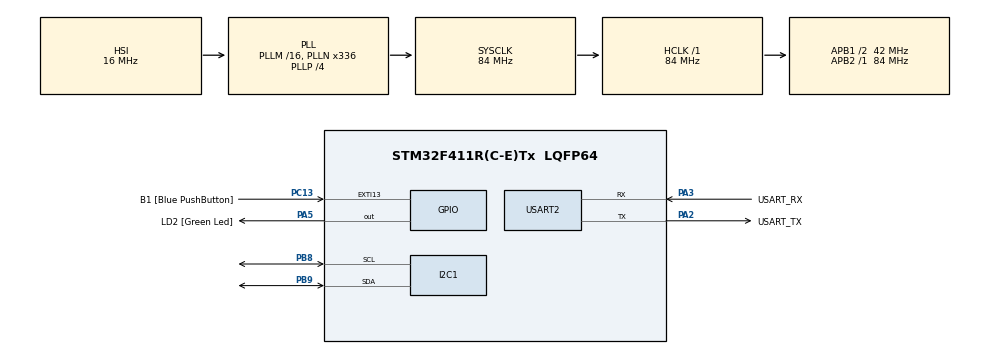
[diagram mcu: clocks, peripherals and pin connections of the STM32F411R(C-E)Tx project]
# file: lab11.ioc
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Mcu.Family=STM32F4
PC15-OSC32_OUT.Mode=LSE-External-Oscillator
RCC.CortexFreq_Value=84000000
NVIC.I2C1_EV_IRQn=true\:0\:0\:false\:false\:true\:true\:true
PC13-ANTI_TAMP.GPIO_Label=B1 [Blue PushButton]
PA14.GPIO_Label=TCK
PH1\ -\ OSC_OUT.Mode=HSE-External-Clock-Source
RCC.APB1CLKDivider=RCC_HCLK_DIV2
PC14-OSC32_IN.Signal=RCC_OSC32_IN
RCC.SYSCLKSource=RCC_SYSCLKSOURCE_PLLCLK
ProjectManager.StackSize=0x400
PA13.Signal=SYS_JTMS-SWDIO
PA3.Mode=Asynchronous
PH0\ -\ OSC_IN.Mode=HSE-External-Clock-Source
PH0\ -\ OSC_IN.Signal=RCC_OSC_IN
ProjectManager.TargetToolchain=STM32CubeIDE
I2C1.I2C_Mode=I2C_Fast
RCC.HCLKFreq_Value=84000000
PB9.Mode=I2C
RCC.APB2TimFreq_Value=84000000
PC15-OSC32_OUT.Signal=RCC_OSC32_OUT
RCC.AHBFreq_Value=84000000
PA5.Signal=GPIO_Output
RCC.HSE_VALUE=8000000
PH1\ -\ OSC_OUT.Signal=RCC_OSC_OUT
board=NUCLEO-F411RE
PC13-ANTI_TAMP.Signal=GPXTI13
RCC.VCOOutputFreq_Value=336000000
RCC.APB2Freq_Value=84000000
PC14-OSC32_IN.Mode=LSE-External-Oscillator
PA14.Mode=Serial_Wire
PA13.Mode=Serial_Wire
NVIC.I2C1_ER_IRQn=true\:0\:0\:false\:false\:true\:true\:true
Mcu.Name=STM32F411R(C-E)Tx
PA2.Signal=USART2_TX
PA13.GPIO_Label=TMS
RCC.FLatency-AdvancedSettings=FLASH_LATENCY_2
RCC.48MHZClocksFreq_Value=84000000
PB3.Signal=SYS_JTDO-SWO
RCC.SYSCLKFreq_VALUE=84000000
Mcu.Package=LQFP64
PB9.Signal=I2C1_SDA
PA5.GPIO_Label=LD2 [Green Led]
USART2.VirtualMode=VM_ASYNC
PC13-ANTI_TAMP.GPIO_ModeDefaultEXTI=GPIO_MODE_IT_FALLING
PA2.GPIO_Label=USART_TX
PA14.Signal=SYS_JTCK-SWCLK
ProjectManager.HeapSize=0x200
RCC.HSI_VALUE=16000000
RCC.PLLP=RCC_PLLP_DIV4
NVIC.PriorityGroup=NVIC_PRIORITYGROUP_0
PB8.Mode=I2C
RCC.PLLN=336
RCC.APB1TimFreq_Value=84000000
PA2.Mode=Asynchronous
PB8.Signal=I2C1_SCL
RCC.APB1Freq_Value=42000000
PA3.GPIO_Label=USART_RX
PA3.Signal=USART2_RX
PB3.GPIO_Label=SWO

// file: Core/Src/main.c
/* USER CODE BEGIN Header */
/**
 ******************************************************************************
 * @file           : main.c
 * @brief          : Main program body
 ******************************************************************************
 * @attention
 *
 * <h2><center>&copy; Copyright (c) 2021 STMicroelectronics.
 * All rights reserved.</center></h2>
 *
 * This software component is licensed by ST under BSD 3-Clause license,
 * the "License"; You may not use this file except in compliance with the
 * License. You may obtain a copy of the License at:
 *                        opensource.org/licenses/BSD-3-Clause
 *
 ******************************************************************************
 */
/* USER CODE END Header */
#include "main.h"

/* USER CODE BEGIN PD */
#define EEPROM_ADDR 0b10100000
#define IOEXPD_ADDR 0b01000000
/* USER CODE END PD */

I2C_HandleTypeDef hi2c1;

UART_HandleTypeDef huart2;

/* USER CODE BEGIN PV */
uint8_t eepromExampleWriteFlag = 0;
uint8_t eepromExampleReadFlag = 0;
uint8_t IOExpdrExampleWriteFlag = 0;
uint8_t IOExpdrExampleReadFlag = 0;
uint8_t eepromDataReadBack[4];
uint8_t IOExpdrDataReadBack;
uint8_t IOExpdrDataWrite = 0b01010101;
uint8_t state[2] = {0,0};
uint8_t timestamp = 0;
uint8_t x=1;

/* USER CODE END PV */

void SystemClock_Config(void);
static void MX_GPIO_Init(void);
static void MX_USART2_UART_Init(void);
static void MX_I2C1_Init(void);
/* USER CODE BEGIN PFP */
void EEPROMWriteExample(uint8_t Wdata);
void EEPROMReadExample(uint8_t *Rdata, uint16_t len);

void IOExpenderInit();
void IOExpenderReadPinA(uint8_t *Rdata);
void IOExpenderWritePinB(uint8_t Wdata);

/* USER CODE END PFP */

int main(void)
{

  /* MCU Configuration--------------------------------------------------------*/

  /* Reset of all peripherals, Initializes the Flash interface and the Systick. */
  HAL_Init();

  /* Configure the system clock */
  SystemClock_Config();

  /* Initialize all configured peripherals */
  MX_GPIO_Init();
  MX_USART2_UART_Init();
  MX_I2C1_Init();
  /* USER CODE BEGIN 2 */
  HAL_Delay(100);
  IOExpenderInit();
  IOExpdrExampleWriteFlag = 1;
  eepromExampleReadFlag = 1;
	EEPROMReadExample(eepromDataReadBack, 1);
	HAL_Delay(100);
	IOExpenderWritePinB(eepromDataReadBack[0]);
  /* USER CODE END 2 */

  /* Infinite loop */
  /* USER CODE BEGIN WHILE */
	while (1) {
//		EEPROMWriteExample();
//		EEPROMReadExample(eepromDataReadBack, 4);
//
//		IOExpenderReadPinA(&IOExpdrDataReadBack);
//		IOExpenderWritePinB(IOExpdrDataWrite);
//
//

		IOExpdrExampleReadFlag = 1;

		if(HAL_GetTick() - timestamp >= 5){

		switch(x){
		case 1:
			IOExpenderReadPinA(&IOExpdrDataReadBack);
			x=2;
			break;
		case 2:
			EEPROMReadExample(eepromDataReadBack, 1);
			x=3;
			break;
		case 3:
			IOExpenderWritePinB(IOExpdrDataWrite);
			x=1;
			break;
		}
		timestamp  = HAL_GetTick();
		}

		state[0] = HAL_GPIO_ReadPin(GPIOC, GPIO_PIN_13);
		if ((state[0]== 0) && (state[1]==1)){

		eepromExampleWriteFlag = 1;
		eepromExampleReadFlag = 1;

		IOExpdrExampleWriteFlag = 1;
		IOExpdrDataWrite=IOExpdrDataReadBack;

		}
		EEPROMWriteExample(IOExpdrDataWrite);
		state[1]=state[0];

    /* USER CODE END WHILE */

	}
}

void SystemClock_Config(void)
{
  RCC_OscInitTypeDef RCC_OscInitStruct = {0};
  RCC_ClkInitTypeDef RCC_ClkInitStruct = {0};

  /** Configure the main internal regulator output voltage
  */
  __HAL_RCC_PWR_CLK_ENABLE();
  __HAL_PWR_VOLTAGESCALING_CONFIG(PWR_REGULATOR_VOLTAGE_SCALE1);
  /** Initializes the RCC Oscillators according to the specified parameters
  * in the RCC_OscInitTypeDef structure.
  */
  RCC_OscInitStruct.OscillatorType = RCC_OSCILLATORTYPE_HSI;
  RCC_OscInitStruct.HSIState = RCC_HSI_ON;
  RCC_OscInitStruct.HSICalibrationValue = RCC_HSICALIBRATION_DEFAULT;
  RCC_OscInitStruct.PLL.PLLState = RCC_PLL_ON;
  RCC_OscInitStruct.PLL.PLLSource = RCC_PLLSOURCE_HSI;
  RCC_OscInitStruct.PLL.PLLM = 16;
  RCC_OscInitStruct.PLL.PLLN = 336;
  RCC_OscInitStruct.PLL.PLLP = RCC_PLLP_DIV4;
  RCC_OscInitStruct.PLL.PLLQ = 4;
  if (HAL_RCC_OscConfig(&RCC_OscInitStruct) != HAL_OK)
  {
    Error_Handler();
  }
  /** Initializes the CPU, AHB and APB buses clocks
  */
  RCC_ClkInitStruct.ClockType = RCC_CLOCKTYPE_HCLK|RCC_CLOCKTYPE_SYSCLK
                              |RCC_CLOCKTYPE_PCLK1|RCC_CLOCKTYPE_PCLK2;
  RCC_ClkInitStruct.SYSCLKSource = RCC_SYSCLKSOURCE_PLLCLK;
  RCC_ClkInitStruct.AHBCLKDivider = RCC_SYSCLK_DIV1;
  RCC_ClkInitStruct.APB1CLKDivider = RCC_HCLK_DIV2;
  RCC_ClkInitStruct.APB2CLKDivider = RCC_HCLK_DIV1;

  if (HAL_RCC_ClockConfig(&RCC_ClkInitStruct, FLASH_LATENCY_2) != HAL_OK)
  {
    Error_Handler();
  }
}

static void MX_I2C1_Init(void)
{

  hi2c1.Instance = I2C1;
  hi2c1.Init.ClockSpeed = 400000;
  hi2c1.Init.DutyCycle = I2C_DUTYCYCLE_2;
  hi2c1.Init.OwnAddress1 = 0;
  hi2c1.Init.AddressingMode = I2C_ADDRESSINGMODE_7BIT;
  hi2c1.Init.DualAddressMode = I2C_DUALADDRESS_DISABLE;
  hi2c1.Init.OwnAddress2 = 0;
  hi2c1.Init.GeneralCallMode = I2C_GENERALCALL_DISABLE;
  hi2c1.Init.NoStretchMode = I2C_NOSTRETCH_DISABLE;
  if (HAL_I2C_Init(&hi2c1) != HAL_OK)
  {
    Error_Handler();
  }

}

static void MX_USART2_UART_Init(void)
{

  huart2.Instance = USART2;
  huart2.Init.BaudRate = 115200;
  huart2.Init.WordLength = UART_WORDLENGTH_8B;
  huart2.Init.StopBits = UART_STOPBITS_1;
  huart2.Init.Parity = UART_PARITY_NONE;
  huart2.Init.Mode = UART_MODE_TX_RX;
  huart2.Init.HwFlowCtl = UART_HWCONTROL_NONE;
  huart2.Init.OverSampling = UART_OVERSAMPLING_16;
  if (HAL_UART_Init(&huart2) != HAL_OK)
  {
    Error_Handler();
  }

}

static void MX_GPIO_Init(void)
{
  GPIO_InitTypeDef GPIO_InitStruct = {0};

  /* GPIO Ports Clock Enable */
  __HAL_RCC_GPIOC_CLK_ENABLE();
  __HAL_RCC_GPIOH_CLK_ENABLE();
  __HAL_RCC_GPIOA_CLK_ENABLE();
  __HAL_RCC_GPIOB_CLK_ENABLE();

  /*Configure GPIO pin Output Level */
  HAL_GPIO_WritePin(LD2_GPIO_Port, LD2_Pin, GPIO_PIN_RESET);

  /*Configure GPIO pin : B1_Pin */
  GPIO_InitStruct.Pin = B1_Pin;
  GPIO_InitStruct.Mode = GPIO_MODE_IT_FALLING;
  GPIO_InitStruct.Pull = GPIO_NOPULL;
  HAL_GPIO_Init(B1_GPIO_Port, &GPIO_InitStruct);

  /*Configure GPIO pin : LD2_Pin */
  GPIO_InitStruct.Pin = LD2_Pin;
  GPIO_InitStruct.Mode = GPIO_MODE_OUTPUT_PP;
  GPIO_InitStruct.Pull = GPIO_NOPULL;
  GPIO_InitStruct.Speed = GPIO_SPEED_FREQ_LOW;
  HAL_GPIO_Init(LD2_GPIO_Port, &GPIO_InitStruct);

}

/* USER CODE BEGIN 4 */
void EEPROMWriteExample(uint8_t Wdata) {
	if (eepromExampleWriteFlag && hi2c1.State == HAL_I2C_STATE_READY) {
		static uint8_t data;
				data = Wdata;
		HAL_I2C_Mem_Write_IT(&hi2c1, EEPROM_ADDR, 0x24, I2C_MEMADD_SIZE_16BIT,
				&data, 1);

		eepromExampleWriteFlag = 0;
	}
}
void EEPROMReadExample(uint8_t *Rdata, uint16_t len) {
	if (eepromExampleReadFlag && hi2c1.State == HAL_I2C_STATE_READY) {

		HAL_I2C_Mem_Read_IT(&hi2c1, EEPROM_ADDR, 0x24, I2C_MEMADD_SIZE_16BIT,
				Rdata, len);
		eepromExampleReadFlag = 0;
	}
}
void IOExpenderInit() {
	//Init All
	static uint8_t Setting[0x16] = { 0xFF, 0x00, 0x00, 0x00, 0x00, 0x00, 0x00,
			0x00, 0x00, 0x00, 0x00, 0x00, 0xFF, 0x00, 0x00, 0x00, 0x00, 0x00,
			0x00, 0x00, 0x00, 0x00 };
	HAL_I2C_Mem_Write(&hi2c1, IOEXPD_ADDR, 0x00, I2C_MEMADD_SIZE_8BIT, Setting,
			0x16, 100);
}
void IOExpenderReadPinA(uint8_t *Rdata) {
	if (IOExpdrExampleReadFlag && hi2c1.State == HAL_I2C_STATE_READY) {
		HAL_I2C_Mem_Read_IT(&hi2c1, IOEXPD_ADDR, 0x12, I2C_MEMADD_SIZE_8BIT,
				Rdata, 1);
		IOExpdrExampleReadFlag =0;
	}
}
void IOExpenderWritePinB(uint8_t Wdata) {
	if (IOExpdrExampleWriteFlag && hi2c1.State == HAL_I2C_STATE_READY) {
		static uint8_t data;
		data = Wdata;
		HAL_I2C_Mem_Write_IT(&hi2c1, IOEXPD_ADDR, 0x15, I2C_MEMADD_SIZE_8BIT,
				&data, 1);
		IOExpdrExampleWriteFlag=0;
	}
}
/* USER CODE END 4 */

void Error_Handler(void)
{
	__disable_irq();
	while (1) {
	}
}

/************************ (C) COPYRIGHT STMicroelectronics *****END OF FILE****/
